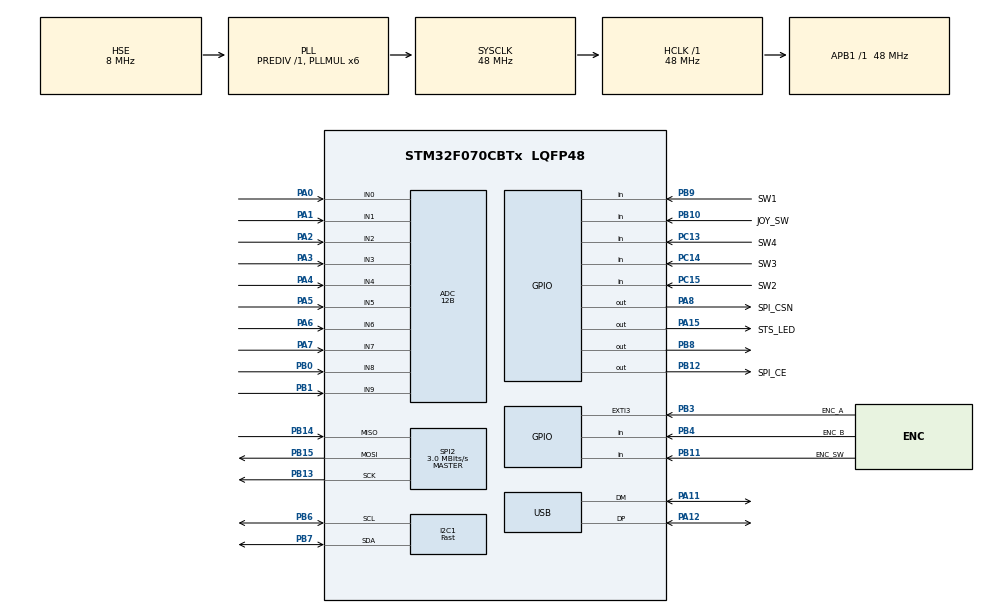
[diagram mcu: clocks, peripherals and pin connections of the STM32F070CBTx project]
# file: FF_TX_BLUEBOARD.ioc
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ADC.ClockPrescaler=ADC_CLOCK_ASYNC_DIV1
ADC.ContinuousConvMode=ENABLE
ADC.DMAContinuousRequests=ENABLE
ADC.DataAlign=ADC_DATAALIGN_RIGHT
ADC.DiscontinuousConvMode=DISABLE
ADC.EOCSelection=ADC_EOC_SEQ_CONV
ADC.EnableAnalogWatchDog=false
ADC.ExternalTrigConv=ADC_SOFTWARE_START
ADC.ExternalTrigConvEdge=ADC_EXTERNALTRIGCONVEDGE_NONE
ADC.LowPowerAutoPowerOff=DISABLE
ADC.LowPowerAutoWait=DISABLE
ADC.Overrun=ADC_OVR_DATA_OVERWRITTEN
ADC.Resolution=ADC_RESOLUTION_12B
ADC.SamplingTime=ADC_SAMPLETIME_239CYCLES_5
ADC.ScanConvMode=ADC_SCAN_DIRECTION_FORWARD
Dma.ADC.0.Direction=DMA_PERIPH_TO_MEMORY
Dma.ADC.0.Instance=DMA1_Channel1
Dma.ADC.0.MemDataAlignment=DMA_MDATAALIGN_HALFWORD
Dma.ADC.0.MemInc=DMA_MINC_ENABLE
Dma.ADC.0.Mode=DMA_CIRCULAR
Dma.ADC.0.PeriphDataAlignment=DMA_PDATAALIGN_HALFWORD
Dma.ADC.0.PeriphInc=DMA_PINC_DISABLE
Dma.ADC.0.Priority=DMA_PRIORITY_LOW
Dma.Request0=ADC
FREERTOS.HEAP_NUMBER=4
FREERTOS.INCLUDE_xTimerPendFunctionCall=1
FREERTOS.Tasks01=defaultTask,2,512,StartDefaultTask,Default,NULL,Dynamic,NULL,NULL;receivingTask,0,256,startReceivingTask,Default,NULL,Dynamic,NULL,NULL
FREERTOS.Timers01=vLPFTimer,vLPFTimerCallback,osTimerPeriodic,Default,NULL,Dynamic,NULL
FREERTOS.configMINIMAL_STACK_SIZE=64
FREERTOS.configTOTAL_HEAP_SIZE=4600
FREERTOS.configUSE_TIMERS=1
I2C1.I2C_Speed_Mode=I2C_Fast
I2C1.Timing=0x0000020B
Mcu.Family=STM32F0
Mcu.Name=STM32F070CBTx
Mcu.Package=LQFP48
NVIC.DMA1_Channel1_IRQn=true\:3\:0\:false\:false\:true\:true\:false
NVIC.EXTI2_3_IRQn=true\:3\:0\:false\:false\:true\:true\:true
NVIC.USB_IRQn=true\:3\:0\:false\:false\:true\:true\:false
PA0.Mode=IN0
PA0.Signal=ADC_IN0
PA1.Mode=IN1
PA1.Signal=ADC_IN1
PA11.Mode=Device
PA11.Signal=USB_DM
PA12.Mode=Device
PA12.Signal=USB_DP
PA13.Mode=Serial_Wire
PA13.Signal=SYS_SWDIO
PA14.Mode=Serial_Wire
PA14.Signal=SYS_SWCLK
PA15.GPIO_Label=STS_LED
PA15.Signal=GPIO_Output
PA2.Mode=IN2
PA2.Signal=ADC_IN2
PA3.Mode=IN3
PA3.Signal=ADC_IN3
PA4.Mode=IN4
PA4.Signal=ADC_IN4
PA5.Mode=IN5
PA5.Signal=ADC_IN5
PA6.Mode=IN6
PA6.Signal=ADC_IN6
PA7.Mode=IN7
PA7.Signal=ADC_IN7
PA8.GPIO_Label=SPI_CSN
PA8.GPIO_PuPd=GPIO_PULLUP
PA8.GPIO_Speed=GPIO_SPEED_FREQ_HIGH
PA8.Signal=GPIO_Output
PB0.Mode=IN8
PB0.Signal=ADC_IN8
PB1.Mode=IN9
PB1.Signal=ADC_IN9
PB10.GPIO_Label=JOY_SW
PB10.GPIO_PuPd=GPIO_PULLUP
PB10.Signal=GPIO_Input
PB11.GPIO_Label=ENC_SW
PB11.GPIO_PuPd=GPIO_PULLUP
PB11.Signal=GPIO_Input
PB12.GPIO_Label=SPI_CE
PB12.GPIO_Speed=GPIO_SPEED_FREQ_HIGH
PB12.Signal=GPIO_Output
PB13.Mode=Full_Duplex_Master
PB13.Signal=SPI2_SCK
PB14.Mode=Full_Duplex_Master
PB14.Signal=SPI2_MISO
PB15.Mode=Full_Duplex_Master
PB15.Signal=SPI2_MOSI
PB3.GPIO_Label=ENC_A
PB3.GPIO_ModeDefaultEXTI=GPIO_MODE_IT_FALLING
PB3.GPIO_PuPd=GPIO_PULLUP
PB3.Signal=GPXTI3
PB4.GPIO_Label=ENC_B
PB4.Signal=GPIO_Input
PB6.Mode=I2C
PB6.Signal=I2C1_SCL
PB7.Mode=I2C
PB7.Signal=I2C1_SDA
PB8.Signal=GPIO_Output
PB9.GPIO_Label=SW1
PB9.GPIO_PuPd=GPIO_PULLUP
PB9.Signal=GPIO_Input
PC13.GPIO_Label=SW4
PC13.GPIO_PuPd=GPIO_PULLUP
PC13.Signal=GPIO_Input
PC14-OSC32_IN.GPIO_Label=SW3
PC14-OSC32_IN.GPIO_PuPd=GPIO_PULLUP
PC14-OSC32_IN.Signal=GPIO_Input
PC15-OSC32_OUT.GPIO_Label=SW2
PC15-OSC32_OUT.GPIO_PuPd=GPIO_PULLUP
PC15-OSC32_OUT.Signal=GPIO_Input
PF0-OSC_IN.Mode=HSE-External-Oscillator
PF0-OSC_IN.Signal=RCC_OSC_IN
PF1-OSC_OUT.Mode=HSE-External-Oscillator
PF1-OSC_OUT.Signal=RCC_OSC_OUT
ProjectManager.HeapSize=0x1700
ProjectManager.StackSize=0x800
ProjectManager.TargetToolchain=EWARM
RCC.AHBFreq_Value=48000000
RCC.APB1Freq_Value=48000000
RCC.APB1TimFreq_Value=48000000
RCC.HCLKFreq_Value=48000000
RCC.PLLMUL=RCC_PLL_MUL6
RCC.SYSCLKFreq_VALUE=48000000
RCC.SYSCLKSource=RCC_SYSCLKSOURCE_PLLCLK
SPI2.BaudRatePrescaler=SPI_BAUDRATEPRESCALER_16
SPI2.CalculateBaudRate=3.0 MBits/s
SPI2.DataSize=SPI_DATASIZE_8BIT
SPI2.Direction=SPI_DIRECTION_2LINES
SPI2.Mode=SPI_MODE_MASTER
SPI2.VirtualType=VM_MASTER
USB_DEVICE.APP_RX_DATA_SIZE=64
USB_DEVICE.APP_TX_DATA_SIZE=64
USB_DEVICE.CLASS_NAME_FS=CDC
USB_DEVICE.CONFIGURATION_STRING_CDC_FS=Communication device
USB_DEVICE.INTERFACE_STRING_CDC_FS=Communication interface
USB_DEVICE.MANUFACTURER_STRING=STM32 Virtual COM Port
USB_DEVICE.PRODUCT_STRING_CDC_FS=FollowFocus - Transmitter COM Port
USB_DEVICE.SERIALNUMBER_STRING_CDC_FS=0x01
USB_DEVICE.USBD_MAX_STR_DESC_SIZ=64
USB_DEVICE.VirtualMode=Cdc
USB_DEVICE.VirtualModeFS=Cdc_FS
VP_FREERTOS_VS_ENABLE.Mode=Enabled
VP_USB_DEVICE_VS_USB_DEVICE_CDC_FS.Mode=CDC_FS
board=FF_TX_BLUEBOARD

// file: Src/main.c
/**
  ******************************************************************************
  * File Name          : main.c
  * Description        : Main program body
  ******************************************************************************
  * This notice applies to any and all portions of this file
  * that are not between comment pairs USER CODE BEGIN and
  * USER CODE END. Other portions of this file, whether
  * inserted by the user or by software development tools
  * are owned by their respective copyright owners.
  *
  * Copyright (c) 2018 STMicroelectronics International N.V.
  * All rights reserved.
  *
  * Redistribution and use in source and binary forms, with or without
  * modification, are permitted, provided that the following conditions are met:
  *
  * 1. Redistribution of source code must retain the above copyright notice,
  *    this list of conditions and the following disclaimer.
  * 2. Redistributions in binary form must reproduce the above copyright notice,
  *    this list of conditions and the following disclaimer in the documentation
  *    and/or other materials provided with the distribution.
  * 3. Neither the name of STMicroelectronics nor the names of other
  *    contributors to this software may be used to endorse or promote products
  *    derived from this software without specific written permission.
  * 4. This software, including modifications and/or derivative works of this
  *    software, must execute solely and exclusively on microcontroller or
  *    microprocessor devices manufactured by or for STMicroelectronics.
  * 5. Redistribution and use of this software other than as permitted under
  *    this license is void and will automatically terminate your rights under
  *    this license.
  *
  * THIS SOFTWARE IS PROVIDED BY STMICROELECTRONICS AND CONTRIBUTORS "AS IS"
  * AND ANY EXPRESS, IMPLIED OR STATUTORY WARRANTIES, INCLUDING, BUT NOT
  * LIMITED TO, THE IMPLIED WARRANTIES OF MERCHANTABILITY, FITNESS FOR A
  * PARTICULAR PURPOSE AND NON-INFRINGEMENT OF THIRD PARTY INTELLECTUAL PROPERTY
  * RIGHTS ARE DISCLAIMED TO THE FULLEST EXTENT PERMITTED BY LAW. IN NO EVENT
  * SHALL STMICROELECTRONICS OR CONTRIBUTORS BE LIABLE FOR ANY DIRECT, INDIRECT,
  * INCIDENTAL, SPECIAL, EXEMPLARY, OR CONSEQUENTIAL DAMAGES (INCLUDING, BUT NOT
  * LIMITED TO, PROCUREMENT OF SUBSTITUTE GOODS OR SERVICES; LOSS OF USE, DATA,
  * OR PROFITS; OR BUSINESS INTERRUPTION) HOWEVER CAUSED AND ON ANY THEORY OF
  * LIABILITY, WHETHER IN CONTRACT, STRICT LIABILITY, OR TORT (INCLUDING
  * NEGLIGENCE OR OTHERWISE) ARISING IN ANY WAY OUT OF THE USE OF THIS SOFTWARE,
  * EVEN IF ADVISED OF THE POSSIBILITY OF SUCH DAMAGE.
  *
  ******************************************************************************
  */

#include "main.h"
#include "stm32f0xx_hal.h"
#include "cmsis_os.h"
#include "adc.h"
#include "dma.h"
#include "i2c.h"
#include "spi.h"
#include "usb_device.h"
#include "gpio.h"

/* USER CODE BEGIN Includes */
#include "nrf24l01.h"
#include "user.h"
#include "wireless_tasks.h"
#include "stm32f4_ssd1306.h"
#include "tm_stm32f4_fonts.h"

/* USER CODE END Includes */

/* USER CODE BEGIN PV */
uint8_t MyAddress[] = {
  0xE7,
  0xE7,
  0xE7,
  0xE7,
  0xE7
};
/* Receiver address */
uint8_t TxAddress[] = {
  0x7E,
  0x7E,
  0x7E,
  0x7E,
  0x7E
};

uint16_t ADC_RAW[ADC_NUM_MEASURED_CHANNELS];

/* Private variables ---------------------------------------------------------*/

/* USER CODE END PV */

void SystemClock_Config(void);
void MX_FREERTOS_Init(void);

/* USER CODE BEGIN PFP */
/* Private function prototypes -----------------------------------------------*/

/* USER CODE END PFP */

int main(void)
{

  /* MCU Configuration----------------------------------------------------------*/

  /* Reset of all peripherals, Initializes the Flash interface and the Systick. */
  HAL_Init();

  /* Configure the system clock */
  SystemClock_Config();

  /* Initialize all configured peripherals */
  MX_GPIO_Init();
  MX_DMA_Init();
  MX_ADC_Init();
  MX_I2C1_Init();
  MX_SPI2_Init();

  /* USER CODE BEGIN 2 */
  SSD1306_Init();
  SSD1306_Fill(SSD1306_COLOR_BLACK);
  SSD1306_GotoXY(5, 20);
  SSD1306_Puts("Mateusz", &TM_Font_11x18, SSD1306_COLOR_WHITE);
  SSD1306_GotoXY(5, 40);
  SSD1306_Puts("Kryszczak", &TM_Font_11x18, SSD1306_COLOR_WHITE);
  SSD1306_UpdateScreen();
  HAL_Delay(500);
  HAL_ADC_Start_DMA(&hadc, (uint32_t*)ADC_RAW, ADC_NUM_MEASURED_CHANNELS);
  TM_NRF24L01_Init(100, 18);
  HAL_Delay(20);
    /* Set 2MBps data rate and -18dBm output power */
  TM_NRF24L01_SetRF(TM_NRF24L01_DataRate_2M, TM_NRF24L01_OutputPower_0dBm);

  /* Set my address, 5 bytes */
  TM_NRF24L01_SetMyAddress(MyAddress);
  /* Set TX address, 5 bytes */
  TM_NRF24L01_SetTxAddress(TxAddress);

  TM_NRF24L01_PowerUpTx();

  /* USER CODE END 2 */

  /* Call init function for freertos objects (in freertos.c) */
  MX_FREERTOS_Init();

  /* Start scheduler */
  osKernelStart();

  /* We should never get here as control is now taken by the scheduler */

  /* Infinite loop */
  while (1)
  {

  }

}

/** System Clock Configuration
*/
void SystemClock_Config(void)
{

  RCC_OscInitTypeDef RCC_OscInitStruct;
  RCC_ClkInitTypeDef RCC_ClkInitStruct;
  RCC_PeriphCLKInitTypeDef PeriphClkInit;

    /**Initializes the CPU, AHB and APB busses clocks
    */
  RCC_OscInitStruct.OscillatorType = RCC_OSCILLATORTYPE_HSI|RCC_OSCILLATORTYPE_HSI14
                              |RCC_OSCILLATORTYPE_HSE;
  RCC_OscInitStruct.HSEState = RCC_HSE_ON;
  RCC_OscInitStruct.HSIState = RCC_HSI_ON;
  RCC_OscInitStruct.HSI14State = RCC_HSI14_ON;
  RCC_OscInitStruct.HSICalibrationValue = 16;
  RCC_OscInitStruct.HSI14CalibrationValue = 16;
  RCC_OscInitStruct.PLL.PLLState = RCC_PLL_ON;
  RCC_OscInitStruct.PLL.PLLSource = RCC_PLLSOURCE_HSE;
  RCC_OscInitStruct.PLL.PLLMUL = RCC_PLL_MUL6;
  RCC_OscInitStruct.PLL.PREDIV = RCC_PREDIV_DIV1;
  if (HAL_RCC_OscConfig(&RCC_OscInitStruct) != HAL_OK)
  {
    _Error_Handler(__FILE__, __LINE__);
  }

    /**Initializes the CPU, AHB and APB busses clocks
    */
  RCC_ClkInitStruct.ClockType = RCC_CLOCKTYPE_HCLK|RCC_CLOCKTYPE_SYSCLK
                              |RCC_CLOCKTYPE_PCLK1;
  RCC_ClkInitStruct.SYSCLKSource = RCC_SYSCLKSOURCE_PLLCLK;
  RCC_ClkInitStruct.AHBCLKDivider = RCC_SYSCLK_DIV1;
  RCC_ClkInitStruct.APB1CLKDivider = RCC_HCLK_DIV1;

  if (HAL_RCC_ClockConfig(&RCC_ClkInitStruct, FLASH_LATENCY_1) != HAL_OK)
  {
    _Error_Handler(__FILE__, __LINE__);
  }

  PeriphClkInit.PeriphClockSelection = RCC_PERIPHCLK_USB|RCC_PERIPHCLK_I2C1;
  PeriphClkInit.I2c1ClockSelection = RCC_I2C1CLKSOURCE_HSI;
  PeriphClkInit.UsbClockSelection = RCC_USBCLKSOURCE_PLL;

  if (HAL_RCCEx_PeriphCLKConfig(&PeriphClkInit) != HAL_OK)
  {
    _Error_Handler(__FILE__, __LINE__);
  }

    /**Configure the Systick interrupt time
    */
  HAL_SYSTICK_Config(HAL_RCC_GetHCLKFreq()/1000);

    /**Configure the Systick
    */
  HAL_SYSTICK_CLKSourceConfig(SYSTICK_CLKSOURCE_HCLK);

  /* SysTick_IRQn interrupt configuration */
  HAL_NVIC_SetPriority(SysTick_IRQn, 3, 0);
}

void _Error_Handler(char * file, int line)
{
  while(1)
  {
  }
}

/************************ (C) COPYRIGHT STMicroelectronics *****END OF FILE****/

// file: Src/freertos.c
/**
******************************************************************************
* File Name          : freertos.c
* Description        : Code for freertos applications
******************************************************************************
* This notice applies to any and all portions of this file
* that are not between comment pairs USER CODE BEGIN and
* USER CODE END. Other portions of this file, whether
* inserted by the user or by software development tools
* are owned by their respective copyright owners.
*
* Copyright (c) 2018 STMicroelectronics International N.V.
* All rights reserved.
*
* Redistribution and use in source and binary forms, with or without
* modification, are permitted, provided that the following conditions are met:
*
* 1. Redistribution of source code must retain the above copyright notice,
*    this list of conditions and the following disclaimer.
* 2. Redistributions in binary form must reproduce the above copyright notice,
*    this list of conditions and the following disclaimer in the documentation
*    and/or other materials provided with the distribution.
* 3. Neither the name of STMicroelectronics nor the names of other
*    contributors to this software may be used to endorse or promote products
*    derived from this software without specific written permission.
* 4. This software, including modifications and/or derivative works of this
*    software, must execute solely and exclusively on microcontroller or
*    microprocessor devices manufactured by or for STMicroelectronics.
* 5. Redistribution and use of this software other than as permitted under
*    this license is void and will automatically terminate your rights under
*    this license.
*
* THIS SOFTWARE IS PROVIDED BY STMICROELECTRONICS AND CONTRIBUTORS "AS IS"
* AND ANY EXPRESS, IMPLIED OR STATUTORY WARRANTIES, INCLUDING, BUT NOT
* LIMITED TO, THE IMPLIED WARRANTIES OF MERCHANTABILITY, FITNESS FOR A
* PARTICULAR PURPOSE AND NON-INFRINGEMENT OF THIRD PARTY INTELLECTUAL PROPERTY
* RIGHTS ARE DISCLAIMED TO THE FULLEST EXTENT PERMITTED BY LAW. IN NO EVENT
* SHALL STMICROELECTRONICS OR CONTRIBUTORS BE LIABLE FOR ANY DIRECT, INDIRECT,
* INCIDENTAL, SPECIAL, EXEMPLARY, OR CONSEQUENTIAL DAMAGES (INCLUDING, BUT NOT
* LIMITED TO, PROCUREMENT OF SUBSTITUTE GOODS OR SERVICES; LOSS OF USE, DATA,
* OR PROFITS; OR BUSINESS INTERRUPTION) HOWEVER CAUSED AND ON ANY THEORY OF
* LIABILITY, WHETHER IN CONTRACT, STRICT LIABILITY, OR TORT (INCLUDING
* NEGLIGENCE OR OTHERWISE) ARISING IN ANY WAY OUT OF THE USE OF THIS SOFTWARE,
* EVEN IF ADVISED OF THE POSSIBILITY OF SUCH DAMAGE.
*
******************************************************************************
*/

#include "FreeRTOS.h"
#include "task.h"
#include "cmsis_os.h"

/* USER CODE BEGIN Includes */
#include "lcd.h"
#include "button.h"
#include "user.h"
#include "wireless_tasks.h"
#include "OLED_Abstract.h"
#include "eeprom_emulator.h"
#include "usbd_cdc_if.h"
/* USER CODE END Includes */

osThreadId defaultTaskHandle;
osThreadId receivingTaskHandle;
osTimerId vLPFTimerHandle;

/* USER CODE BEGIN Variables */
extern uint16_t ADC_RAW[ADC_NUM_MEASURED_CHANNELS];
uint16_t ADC_Filtered[ADC_NUM_MEASURED_CHANNELS];
user_parameters_t user;

extern buttonStateHandler_t button1Handler, button2Handler, button3Handler, buttonEncHandler, buttonJoyHandler;
volatile uint8_t blockEncoder = 0, handleEncoderDebounceRequest = 0;
extern uint8_t buttonPendingRequest[];
extern uint8_t encoderButtonCounter;
/* USER CODE END Variables */

void StartDefaultTask(void const * argument);
void startReceivingTask(void const * argument);
void vLPFTimerCallback(void const * argument);

extern void MX_USB_DEVICE_Init(void);
void MX_FREERTOS_Init(void); /* (MISRA C 2004 rule 8.1) */

/* Hook prototypes */

/* Init FreeRTOS */

void MX_FREERTOS_Init(void) {

  /* Create the timer(s) */
  /* definition and creation of vLPFTimer */
  osTimerDef(vLPFTimer, vLPFTimerCallback);
  vLPFTimerHandle = osTimerCreate(osTimer(vLPFTimer), osTimerPeriodic, NULL);

  /* Create the thread(s) */
  /* definition and creation of defaultTask */
  osThreadDef(defaultTask, StartDefaultTask, osPriorityHigh, 0, 512);
  defaultTaskHandle = osThreadCreate(osThread(defaultTask), NULL);

  /* definition and creation of receivingTask */
  osThreadDef(receivingTask, startReceivingTask, osPriorityNormal, 0, 256);
  receivingTaskHandle = osThreadCreate(osThread(receivingTask), NULL);

}

/* StartDefaultTask function */
void StartDefaultTask(void const * argument)
{
  /* init code for USB_DEVICE */
  MX_USB_DEVICE_Init();

  /* USER CODE BEGIN StartDefaultTask */
  initUserStruct(&user); //init with max ranges and zero parameters
  ReadFromFlash(&user, sizeof(user), SECTOR31_FLASH_BEGINING); //read calibration data
  osTimerStart(vLPFTimerHandle, 2U);
  buttonHandlersInit();
  /* Infinite loop */
  for(;;)
  {
    pollButtons();
    processButtonsPendingRequests();
    writeWireless();
    OLED_DrawVoltages();

    /* seems to work good
    static uint32_t MessageCounter = 0;
    MessageCounter++;
    uint8_t DataToSend[32];
    uint8_t MessageLength;
    MessageLength = sprintf(DataToSend, "Wiadomosc nr %d\n\r", MessageCounter);
    CDC_Transmit_FS(DataToSend, MessageLength);
    */
    vTaskDelay(5 / portTICK_PERIOD_MS);
  }
  /* USER CODE END StartDefaultTask */
}

/* startReceivingTask function */
void startReceivingTask(void const * argument)
{
  /* USER CODE BEGIN startReceivingTask */
  /* Infinite loop */
  for(;;)
  {
    readWireless();
    vTaskDelay(25 / portTICK_PERIOD_MS);
  }
  /* USER CODE END startReceivingTask */
}

/* vLPFTimerCallback function */
void vLPFTimerCallback(void const * argument)
{
  /* USER CODE BEGIN vLPFTimerCallback */
  filterADC(ADC_RAW, ADC_Filtered);
  /* USER CODE END vLPFTimerCallback */
}

/************************ (C) COPYRIGHT STMicroelectronics *****END OF FILE****/
